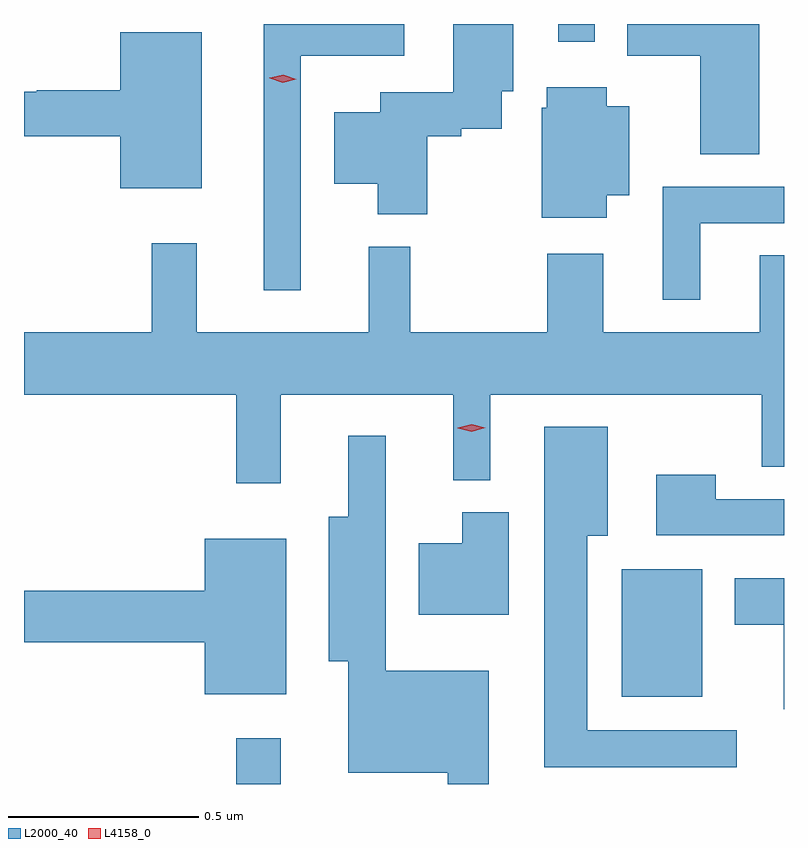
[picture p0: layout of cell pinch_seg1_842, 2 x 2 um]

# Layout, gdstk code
import gdstk
lib = gdstk.Library(unit=1e-6, precision=1e-09)
def R(c, l, rs):  # rectangles x0, y0, x1, y1
    for r in rs: c.add(gdstk.rectangle(r[:2], r[2:], *l))
def P(c, l, *ps):  # polygons
    for p in ps: c.add(gdstk.Polygon(p, *l))
L2000_40 = (2000, 40)
L4158_0 = (4158, 0)

pinch_seg1_842 = lib.new_cell('pinch_seg1_842')
R(pinch_seg1_842, L2000_40, [(498.661,546.711,498.778,546.832), (499.676,546.941,499.888,547.276), (499.509,548.664,499.605,548.711)])
P(pinch_seg1_842, L2000_40, [(498.831,548.627),(499.104,548.627),(499.104,548.711),(498.734,548.711),(498.734,548.01),(498.831,548.01)],
  [(500.038,548.711),(499.69,548.711),(499.69,548.627),(499.883,548.627),(499.883,548.368),(500.038,548.368)],
  [(499.164,548.416),(499.254,548.416),(499.254,548.436),(499.36,548.436),(499.36,548.534),(499.39,548.534),(499.39,548.711),(499.232,548.711),(499.232,548.532),(499.04,548.532),(499.04,548.479),(498.92,548.479),(498.92,548.291),(499.034,548.291),(499.034,548.21),(499.164,548.21)],
  [(498.571,548.689),(498.356,548.689),(498.356,548.537),(498.136,548.537),(498.136,548.533),(498.103,548.533),(498.103,548.416),(498.356,548.416),(498.356,548.279),(498.571,548.279)],
  [(499.636,548.261),(499.696,548.261),(499.696,548.494),(499.636,548.494),(499.636,548.545),(499.478,548.545),(499.478,548.49),(499.466,548.49),(499.466,548.201),(499.636,548.201)],
  [(499.882,548.187),(500.103,548.187),(500.103,548.283),(499.784,548.283),(499.784,547.986),(499.882,547.986)],
  [(498.779,547.736),(499.232,547.736),(499.232,547.511),(499.33,547.511),(499.33,547.736),(500.044,547.736),(500.044,547.546),(500.103,547.546),(500.103,548.102),(500.039,548.102),(500.039,547.9),(499.627,547.9),(499.627,548.107),(499.48,548.107),(499.48,547.9),(499.12,547.9),(499.12,548.125),(499.01,548.125),(499.01,547.9),(498.557,547.9),(498.557,548.134),(498.439,548.134),(498.439,547.9),(498.103,547.9),(498.103,547.736),(498.661,547.736),(498.661,547.503),(498.779,547.503)],
  [(499.978,546.852),(499.585,546.852),(499.585,547.364),(499.639,547.364),(499.639,547.651),(499.472,547.651),(499.472,546.755),(499.978,546.755)],
  [(499.326,547.009),(499.055,547.009),(499.055,547.627),(498.956,547.627),(498.956,547.414),(498.905,547.414),(498.905,547.034),(498.956,547.034),(498.956,546.74),(499.218,546.74),(499.218,546.711),(499.326,546.711)],
  [(500.103,547.461),(499.923,547.461),(499.923,547.525),(499.767,547.525),(499.767,547.365),(500.103,547.365)],
  [(499.378,547.426),(499.256,547.426),(499.256,547.345),(499.142,547.345),(499.142,547.157),(499.378,547.157)],
  [(498.793,547.357),(498.578,547.357),(498.578,547.22),(498.103,547.22),(498.103,547.084),(498.578,547.084),(498.578,546.947),(498.793,546.947)],
  [(500.103,547.252),(499.973,547.252),(499.973,547.13),(500.102,547.13),(500.102,546.908),(500.103,546.908)])
P(pinch_seg1_842, L4158_0, [(499.281,547.638),(499.245,547.647),(499.245,547.647),(499.245,547.648),(499.281,547.658),(499.317,547.649),(499.317,547.649),(499.317,547.649)],
  [(498.784,548.557),(498.75,548.568),(498.749,548.569),(498.75,548.569),(498.785,548.577),(498.82,548.566),(498.82,548.565),(498.82,548.565)])

lib.write_gds('pinch_seg1_842.gds')
